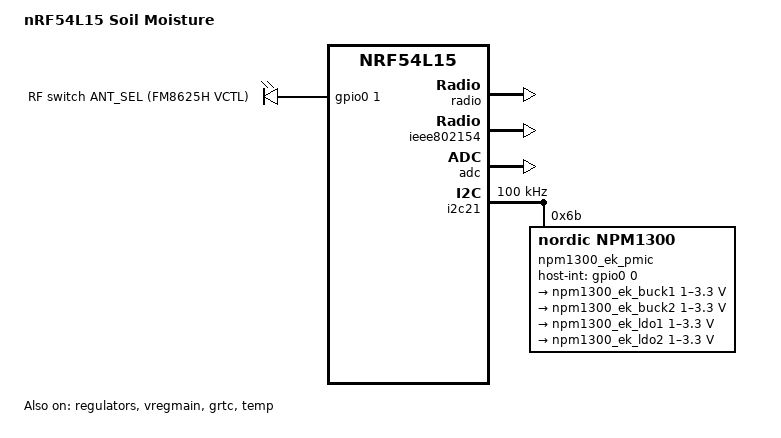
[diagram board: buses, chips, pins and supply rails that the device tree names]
/dts-v1/;

#include <nordic/nrf54l15_cpuapp.dtsi>
#include <dt-bindings/regulator/npm13xx.h>
#include "soil_moisture-pinctrl.dtsi"

/ {
	model = "nRF54L15 Soil Moisture";
	compatible = "others,soil-moisture-nrf54l15-cpuapp";

	chosen {
		zephyr,code-partition = &slot0_partition;
		zephyr,sram = &cpuapp_sram;
		zephyr,flash-controller = &rram_controller;
		zephyr,flash = &cpuapp_rram;
		zephyr,console = &rtt0;
		zephyr,shell-uart = &rtt0;
		zephyr,bt-mon-uart = &rtt0;
		zephyr,bt-c2h-uart = &rtt0;
		zephyr,ieee802154 = &ieee802154;
	};

	aliases {
		ant-sel = &ant_sel;
		watchdog0 = &wdt31;
	};

	antennas {
		compatible = "gpio-leds";

		ant_sel: ant_sel {
			gpios = <&gpio0 1 GPIO_ACTIVE_HIGH>;
			label = "RF switch ANT_SEL (FM8625H VCTL)";
		};
	};

	rtt0: rtt_uart0 {
		compatible = "segger,rtt-uart";
		status = "okay";
	};
};

#include <vendor/nordic/nrf54l15_cpuapp_partition.dtsi>

&cpuapp_sram {
	status = "okay";
};

&lfxo {
	load-capacitors = "internal";
	load-capacitance-femtofarad = <17000>;
};

&hfxo {
	load-capacitors = "internal";
	load-capacitance-femtofarad = <15000>;
};

&regulators {
	status = "okay";
};

&vregmain {
	status = "okay";
	regulator-initial-mode = <NRF5X_REG_MODE_DCDC>;
};

&grtc {
	owned-channels = <0 1 2 3 4 5 6 7 8 9 10 11>;
	child-owned-channels = <3 4 7 8 9 10 11>;
	status = "okay";
};

&gpio0 {
	status = "okay";
};

&gpio1 {
	status = "okay";
};

&gpio2 {
	status = "okay";
};

&gpiote20 {
	status = "okay";
};

&gpiote30 {
	status = "okay";
};

&radio {
	status = "okay";
};

&ieee802154 {
	status = "okay";
};

&temp {
	status = "okay";
};

&clock {
	status = "okay";
};

&adc {
	status = "okay";
};

&uart20 {
	status = "disabled";
};

&uart30 {
	status = "disabled";
};

&i2c21 {
	compatible = "nordic,nrf-twim";
	status = "okay";
	clock-frequency = <I2C_BITRATE_STANDARD>;
	pinctrl-0 = <&i2c21_default>;
	pinctrl-1 = <&i2c21_sleep>;
	pinctrl-names = "default", "sleep";

	npm1300_ek_pmic: pmic@6b {
		compatible = "nordic,npm1300";
		reg = <0x6b>;
		host-int-gpios = <&gpio0 0 GPIO_ACTIVE_HIGH>;
		pmic-int-pin = <1>;

		npm1300_ek_gpio: gpio-controller {
			compatible = "nordic,npm1300-gpio";
			gpio-controller;
			#gpio-cells = <2>;
			ngpios = <5>;
		};

		npm1300_ek_regulators: regulators {
			compatible = "nordic,npm1300-regulator";

			npm1300_ek_buck1: BUCK1 {
				regulator-min-microvolt = <1000000>;
				regulator-max-microvolt = <3300000>;
				regulator-init-microvolt = <1800000>;
			};

			npm1300_ek_buck2: BUCK2 {
				regulator-min-microvolt = <1000000>;
				regulator-max-microvolt = <3300000>;
				regulator-init-microvolt = <3000000>;
				regulator-always-on;
			};

			npm1300_ek_ldo1: LDO1 {
				regulator-min-microvolt = <1000000>;
				regulator-max-microvolt = <3300000>;
				status = "disabled";
			};

			npm1300_ek_ldo2: LDO2 {
				regulator-min-microvolt = <1000000>;
				regulator-max-microvolt = <3300000>;
				status = "disabled";
			};
		};

		npm1300_ek_charger: charger {
			compatible = "nordic,npm1300-charger";
			term-microvolt = <4150000>;
			term-warm-microvolt = <4000000>;
			current-microamp = <150000>;
			dischg-limit-microamp = <1000000>;
			vbus-limit-microamp = <500000>;
			thermistor-ohms = <10000>;
			thermistor-beta = <3380>;
			charging-enable;
		};

		npm1300_ek_leds: leds {
			compatible = "nordic,npm1300-led";
			nordic,led0-mode = "error";
			nordic,led1-mode = "charging";
			nordic,led2-mode = "host";
		};
	};
};
